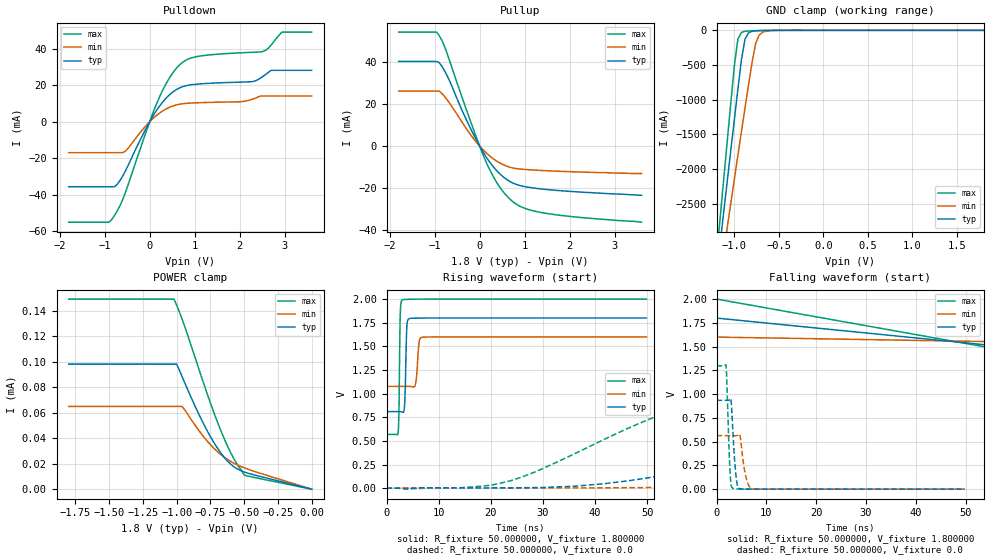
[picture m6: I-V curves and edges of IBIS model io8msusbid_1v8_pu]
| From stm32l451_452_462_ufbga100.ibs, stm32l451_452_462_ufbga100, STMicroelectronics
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|   Model io8msusbid_1v8_pu
[Model]  io8msusbid_1v8_pu
Model_type I/O
Polarity   Non-Inverting
Enable   Active-Low
Vinl =   0.540000V
Vinh =   1.260000V
Vmeas =  0.900000V
Cref =   100.000000nF
Rref =   1.000000k
Vref =   1.800000V
C_comp   2.022300pF   2.021100pF   2.049600pF
[Temperature Range]   25.000000   0.125000k   -40.000000
[Pullup Reference]   1.800000V   1.600000V   2.000000V
[Pulldown Reference]   0.0V   0.0V   0.0V
[POWER Clamp Reference]   1.800000V   1.600000V   2.000000V
[GND Clamp Reference]   0.0V   0.0V   0.0V
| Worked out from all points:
|   slope of the pulldown table from 0 to 0.27 V, typ, clamps not added: 26.4 ohm
|   slope of the pullup table from 0 to 0.27 V, typ, clamps not added: 30.1 ohm
|   GND clamp passes 1 mA (typ) near -0.60 V on its own axis
|   rising waveform, R_fixture 50.000000, V_fixture 1.800000: 20-80 % time 250ps typ, 397ps min, 180ps max; typ from 0.81 V to 1.8 V
|   rising waveform, R_fixture 50.000000, V_fixture 0.0: 20-80 % time 65.2ns typ, 114ns min, 35.5ns max; typ from 0.001 V to 0.935 V
|   falling waveform, R_fixture 50.000000, V_fixture 1.800000: 20-80 % time 119ns typ, 161ns min, 92ns max; typ from 1.8 V to 0.81 V
|   falling waveform, R_fixture 50.000000, V_fixture 0.0: 20-80 % time 677ps typ, 985ps min, 517ps max; typ from 0.935 V to 0.001 V
[Pulldown]
|Voltage   I(typ)   I(min)   I(max)
-1.8V     -35.64mA   -16.93mA   -55.1mA
-840mV    -35.64mA   -16.93mA   -53.52mA
-720mV    -34.31mA   -16.93mA   -48.86mA
-540mV    -27.04mA   -16.13mA   -38.89mA
240mV     9.303mA    5.14mA     14.78mA
480mV     15.67mA    8.374mA    25.64mA
720mV     19.18mA    9.883mA    32.46mA
1.14V     20.87mA    10.54mA    36.19mA
2.28V     22.08mA    12.36mA    38.18mA
2.52V     24.96mA    14.18mA    38.63mA
2.94V     28.3mA     14.18mA    49.27mA
3.6V      28.3mA     14.18mA    49.27mA
[Pullup]
|Voltage   I(typ)   I(min)   I(max)
-1.8V     40.48mA    26.32mA    54.53mA
-960mV    40.48mA    26.32mA    54.53mA
-900mV    39.98mA    26.32mA    52.91mA
-780mV    36mA       23.73mA    47.67mA
-240mV    10.08mA    6.588mA    14.1mA
120mV     -4.38mA    -2.702mA   -6.45mA
240mV     -8.143mA   -5.004mA   -12mA
420mV     -12.68mA   -7.723mA   -18.77mA
720mV     -17.48mA   -10.36mA   -26.28mA
1.02V     -19.45mA   -11.2mA    -29.88mA
1.5V      -20.78mA   -11.79mA   -32.25mA
3.6V      -23.5mA    -13.1mA    -36.4mA
[GND_clamp]
|Voltage   I(typ)   I(min)   I(max)
-1.8V     -9.895A    -9.296A    -9.457A
-1.2V     -3.533A    -3.902A    -3.274A
-1.16V    -3.082A    -3.55A     -2.716A
-1.12V    -2.631A    -3.198A    -2.159A
-1.08V    -2.182A    -2.848A    -1.604A
-1V       -1.289A    -2.15A     -512mA
-960mV    -849.4mA   -1.803A    -123.8mA
-920mV    -422.4mA   -1.459A    -30.79mA
-880mV    -123.7mA   -1.118A    -13.63mA
-760mV    -6.32mA    -185mA     -5.692mA
-680mV    -2.569mA   -25.43mA   -2.907mA
1.8V      0A         0A         0A
[POWER_clamp]
|Voltage   I(typ)   I(min)   I(max)
-1.8V     98.28uA    64.99uA    149.4uA
-1.02V    98.28uA    64.99uA    149.4uA
-1V       98.28uA    64.99uA    144.6uA
-960mV    88.57uA    64.99uA    133.7uA
-820mV    55.53uA    43.9uA     89.47uA
-760mV    43.23uA    36.15uA    70.81uA
-700mV    32.6uA     29.7uA     53.4uA
-640mV    24.05uA    24.57uA    37.82uA
-600mV    19.7uA     21.84uA    28.76uA
-560mV    16.51uA    19.57uA    21uA
-500mV    13.54uA    16.82uA    11.13uA
0V        0A         0A         0A
[Ramp]
| variable   typ   min   max
dV/dt_r  0.56071/65.15866n   0.33710/0.11418u   0.77863/35.46512n
dV/dt_f  0.59414/66.69548n   0.31416/0.11610u   0.85869/35.03890n
R_load = 50.000000
[Rising Waveform]
R_fixture= 50.000000
V_fixture= 1.800000
V_fixture_min= 1.600000
V_fixture_max= 2.000000
|time   V(typ)   V(min)   V(max)
0s        809.8mV    1.076V     568.8mV
2.202ns   809.8mV    1.076V     579.4mV
2.402ns   809.8mV    1.076V     855.9mV
2.603ns   809.7mV    1.076V     1.797V
3.003ns   806mV      1.076V     1.99V
3.504ns   911mV      1.077V     1.996V
3.904ns   1.719V     1.077V     1.997V
4.404ns   1.794V     1.076V     1.998V
6.807ns   1.799V     1.595V     1.999V
49.85ns   1.8V       1.6V       2V
[Rising Waveform]
R_fixture= 50.000000
V_fixture= 0.0
V_fixture_min= 0.0
V_fixture_max= 0.0
|time   V(typ)   V(min)   V(max)
0s        726.2uV    1.152mV    482.7uV
14.01ns   2.287mV    2.579mV    4.36mV
24.02ns   3.912mV    2.598mV    82.36mV
52.05ns   127.3mV    7.665mV    766.1mV
70.07ns   316.8mV    23.96mV    1.07V
86.09ns   483.7mV    57.53mV    1.199V
110.1ns   676.7mV    135.1mV    1.266V
174.2ns   890.6mV    351.9mV    1.296V
306.3ns   933.7mV    532.7mV    1.298V
997ns     935.3mV    563.1mV    1.298V
[Falling Waveform]
R_fixture= 50.000000
V_fixture= 1.800000
V_fixture_min= 1.600000
V_fixture_max= 2.000000
|time   V(typ)   V(min)   V(max)
0s        1.8V       1.6V       2V
150.2ns   1.017V     1.47V      598.4mV
300.3ns   823.1mV    1.139V     569.5mV
450.5ns   811mV      1.089V     568.9mV
750.8ns   809.7mV    1.077V     568.8mV
14.86us   809.8mV    1.076V     568.8mV
[Falling Waveform]
R_fixture= 50.000000
V_fixture= 0.0
V_fixture_min= 0.0
V_fixture_max= 0.0
|time   V(typ)   V(min)   V(max)
0s        935.3mV    563.1mV    1.298V
1.902ns   935.3mV    563.1mV    1.304V
2.703ns   946.8mV    563.1mV    192.9mV
2.903ns   943.6mV    563.1mV    54.89mV
3.303ns   586.7mV    563mV      8.632mV
4.004ns   98.64mV    562.8mV    2.519mV
4.705ns   5.46mV     566.4mV    1.741mV
5.806ns   1.154mV    152.2mV    1.558mV
7.107ns   762.1uV    4.784mV    1.502mV
49.85ns   726.2uV    1.152mV    482.7uV
